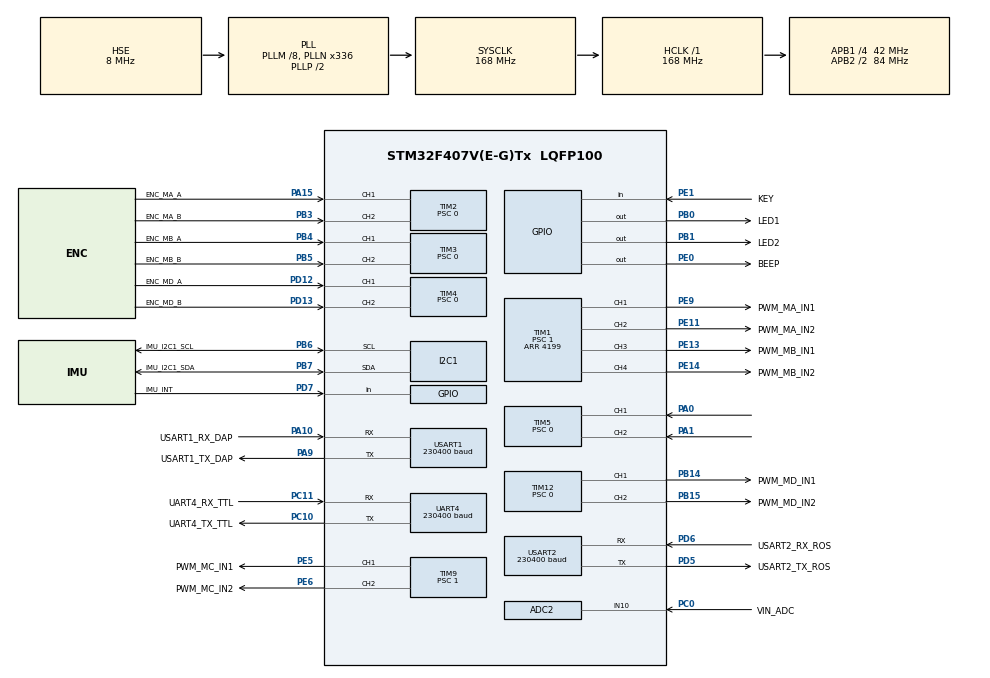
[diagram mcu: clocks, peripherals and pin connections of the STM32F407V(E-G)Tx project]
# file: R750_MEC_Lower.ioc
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ADC2.Channel=ADC_CHANNEL_10
ADC2.Channel-0\#ChannelRegularConversion=ADC_CHANNEL_10
ADC2.NbrOfConversion=1
ADC2.NbrOfConversionFlag=1
ADC2.Rank-0\#ChannelRegularConversion=1
ADC2.SamplingTime-0\#ChannelRegularConversion=ADC_SAMPLETIME_480CYCLES
ADC2.master=1
FREERTOS.Tasks01=defaultTask,24,512,StartDefaultTask,Default,NULL,Dynamic,NULL,NULL
FREERTOS.configCHECK_FOR_STACK_OVERFLOW=2
FREERTOS.configTOTAL_HEAP_SIZE=32768
FREERTOS.configUSE_APPLICATION_TASK_TAG=0
FREERTOS.configUSE_COUNTING_SEMAPHORES=1
FREERTOS.configUSE_IDLE_HOOK=0
FREERTOS.configUSE_MALLOC_FAILED_HOOK=1
FREERTOS.configUSE_RECURSIVE_MUTEXES=1
I2C1.I2C_Mode=I2C_Fast
I2C1.OwnAddress=0
Mcu.Family=STM32F4
Mcu.Name=STM32F407V(E-G)Tx
Mcu.Package=LQFP100
NVIC.PriorityGroup=NVIC_PRIORITYGROUP_4
NVIC.TIM6_DAC_IRQn=true\:0\:0\:false\:false\:true\:false\:false\:true\:true
NVIC.TIM7_IRQn=true\:5\:0\:false\:false\:true\:true\:true\:true\:true
NVIC.TimeBase=TIM6_DAC_IRQn
NVIC.TimeBaseIP=TIM6
NVIC.UART4_IRQn=true\:5\:0\:false\:false\:true\:true\:true\:true\:true
NVIC.USART1_IRQn=true\:5\:0\:false\:false\:true\:true\:true\:true\:true
NVIC.USART2_IRQn=true\:5\:0\:false\:false\:true\:true\:true\:true\:true
PA0-WKUP.GPIO_PuPd=GPIO_PULLUP
PA0-WKUP.Signal=S_TIM5_CH1
PA1.GPIO_PuPd=GPIO_PULLUP
PA1.Signal=S_TIM5_CH2
PA10.GPIO_Label=USART1_RX_DAP
PA10.GPIO_Mode=GPIO_MODE_AF_PP
PA10.GPIO_PuPd=GPIO_NOPULL
PA10.GPIO_Speed=GPIO_SPEED_FREQ_VERY_HIGH
PA10.Mode=Asynchronous
PA10.Signal=USART1_RX
PA13.Mode=Serial_Wire
PA13.Signal=SYS_JTMS-SWDIO
PA14.Mode=Serial_Wire
PA14.Signal=SYS_JTCK-SWCLK
PA15.GPIO_Label=ENC_MA_A
PA15.GPIO_PuPd=GPIO_PULLUP
PA15.Signal=S_TIM2_CH1_ETR
PA9.GPIO_Label=USART1_TX_DAP
PA9.GPIO_Mode=GPIO_MODE_AF_PP
PA9.GPIO_PuPd=GPIO_NOPULL
PA9.GPIO_Speed=GPIO_SPEED_FREQ_VERY_HIGH
PA9.Mode=Asynchronous
PA9.Signal=USART1_TX
PB0.GPIO_Label=LED1
PB0.GPIO_PuPd=GPIO_NOPULL
PB0.GPIO_Speed=GPIO_SPEED_FREQ_LOW
PB0.PinState=GPIO_PIN_SET
PB0.Signal=GPIO_Output
PB1.GPIO_Label=LED2
PB1.GPIO_PuPd=GPIO_NOPULL
PB1.GPIO_Speed=GPIO_SPEED_FREQ_LOW
PB1.PinState=GPIO_PIN_SET
PB1.Signal=GPIO_Output
PB14.GPIO_Label=PWM_MD_IN1
PB14.Signal=S_TIM12_CH1
PB15.GPIO_Label=PWM_MD_IN2
PB15.Signal=S_TIM12_CH2
PB3.GPIO_Label=ENC_MA_B
PB3.GPIO_PuPd=GPIO_PULLUP
PB3.Signal=S_TIM2_CH2
PB4.GPIO_Label=ENC_MB_A
PB4.GPIO_PuPd=GPIO_PULLUP
PB4.Signal=S_TIM3_CH1
PB5.GPIO_Label=ENC_MB_B
PB5.GPIO_PuPd=GPIO_PULLUP
PB5.Signal=S_TIM3_CH2
PB6.GPIO_Label=IMU_I2C1_SCL
PB6.GPIO_Mode=GPIO_MODE_AF_OD
PB6.GPIO_PuPd=GPIO_NOPULL
PB6.GPIO_Speed=GPIO_SPEED_FREQ_VERY_HIGH
PB6.Mode=I2C
PB6.Signal=I2C1_SCL
PB7.GPIO_Label=IMU_I2C1_SDA
PB7.GPIO_Mode=GPIO_MODE_AF_OD
PB7.GPIO_PuPd=GPIO_NOPULL
PB7.GPIO_Speed=GPIO_SPEED_FREQ_VERY_HIGH
PB7.Mode=I2C
PB7.Signal=I2C1_SDA
PC0.GPIO_Label=VIN_ADC
PC0.Signal=ADCx_IN10
PC10.GPIO_Label=UART4_TX_TTL
PC10.GPIO_Mode=GPIO_MODE_AF_PP
PC10.GPIO_PuPd=GPIO_NOPULL
PC10.GPIO_Speed=GPIO_SPEED_FREQ_VERY_HIGH
PC10.Mode=Asynchronous
PC10.Signal=UART4_TX
PC11.GPIO_Label=UART4_RX_TTL
PC11.GPIO_Mode=GPIO_MODE_AF_PP
PC11.GPIO_PuPd=GPIO_NOPULL
PC11.GPIO_Speed=GPIO_SPEED_FREQ_VERY_HIGH
PC11.Mode=Asynchronous
PC11.Signal=UART4_RX
PD12.GPIO_Label=ENC_MD_A
PD12.GPIO_PuPd=GPIO_PULLUP
PD12.Signal=S_TIM4_CH1
PD13.GPIO_Label=ENC_MD_B
PD13.GPIO_PuPd=GPIO_PULLUP
PD13.Signal=S_TIM4_CH2
PD5.GPIO_Label=USART2_TX_ROS
PD5.GPIO_Mode=GPIO_MODE_AF_PP
PD5.GPIO_PuPd=GPIO_NOPULL
PD5.GPIO_Speed=GPIO_SPEED_FREQ_VERY_HIGH
PD5.Mode=Asynchronous
PD5.Signal=USART2_TX
PD6.GPIO_Label=USART2_RX_ROS
PD6.GPIO_Mode=GPIO_MODE_AF_PP
PD6.GPIO_PuPd=GPIO_NOPULL
PD6.GPIO_Speed=GPIO_SPEED_FREQ_VERY_HIGH
PD6.Mode=Asynchronous
PD6.Signal=USART2_RX
PD7.GPIO_Label=IMU_INT
PD7.GPIO_PuPd=GPIO_PULLDOWN
PD7.Signal=GPIO_Input
PE0.GPIO_Label=BEEP
PE0.GPIO_PuPd=GPIO_NOPULL
PE0.GPIO_Speed=GPIO_SPEED_FREQ_LOW
PE0.PinState=GPIO_PIN_RESET
PE0.Signal=GPIO_Output
PE1.GPIO_Label=KEY
PE1.GPIO_PuPd=GPIO_NOPULL
PE1.Signal=GPIO_Input
PE11.GPIO_Label=PWM_MA_IN2
PE11.Signal=S_TIM1_CH2
PE13.GPIO_Label=PWM_MB_IN1
PE13.Signal=S_TIM1_CH3
PE14.GPIO_Label=PWM_MB_IN2
PE14.Signal=S_TIM1_CH4
PE5.GPIO_Label=PWM_MC_IN1
PE5.Signal=S_TIM9_CH1
PE6.GPIO_Label=PWM_MC_IN2
PE6.Signal=S_TIM9_CH2
PE9.GPIO_Label=PWM_MA_IN1
PE9.Signal=S_TIM1_CH1
PH0-OSC_IN.Mode=HSE-External-Oscillator
PH0-OSC_IN.Signal=RCC_OSC_IN
PH1-OSC_OUT.Mode=HSE-External-Oscillator
PH1-OSC_OUT.Signal=RCC_OSC_OUT
ProjectManager.HeapSize=0x200
ProjectManager.StackSize=0x400
ProjectManager.TargetToolchain=CMake
RCC.48MHZClocksFreq_Value=48000000
RCC.AHBFreq_Value=168000000
RCC.APB1CLKDivider=RCC_HCLK_DIV4
RCC.APB1Freq_Value=42000000
RCC.APB1TimFreq_Value=84000000
RCC.APB2CLKDivider=RCC_HCLK_DIV2
RCC.APB2Freq_Value=84000000
RCC.APB2TimFreq_Value=168000000
RCC.CortexFreq_Value=168000000
RCC.HCLKFreq_Value=168000000
RCC.HSE_VALUE=8000000
RCC.HSI_VALUE=16000000
RCC.LSE_VALUE=32768
RCC.PLLM=8
RCC.PLLN=336
RCC.PLLP=RCC_PLLP_DIV2
RCC.PLLQ=7
RCC.PLLSourceVirtual=RCC_PLLSOURCE_HSE
RCC.SYSCLKFreq_VALUE=168000000
RCC.SYSCLKSource=RCC_SYSCLKSOURCE_PLLCLK
RCC.USBFreq_Value=48000000
RCC.VCOOutputFreq_Value=336000000
SH.ADCx_IN10.0=ADC2_IN10,IN10
SH.S_TIM12_CH1.0=TIM12_CH1,PWM Generation1 CH1
SH.S_TIM12_CH2.0=TIM12_CH2,PWM Generation2 CH2
SH.S_TIM1_CH1.0=TIM1_CH1,PWM Generation1 CH1
SH.S_TIM1_CH2.0=TIM1_CH2,PWM Generation2 CH2
SH.S_TIM1_CH3.0=TIM1_CH3,PWM Generation3 CH3
SH.S_TIM1_CH4.0=TIM1_CH4,PWM Generation4 CH4
SH.S_TIM2_CH1_ETR.0=TIM2_CH1,Encoder_Interface
SH.S_TIM2_CH2.0=TIM2_CH2,Encoder_Interface
SH.S_TIM3_CH1.0=TIM3_CH1,Encoder_Interface
SH.S_TIM3_CH2.0=TIM3_CH2,Encoder_Interface
SH.S_TIM4_CH1.0=TIM4_CH1,Encoder_Interface
SH.S_TIM4_CH2.0=TIM4_CH2,Encoder_Interface
SH.S_TIM5_CH1.0=TIM5_CH1,Encoder_Interface
SH.S_TIM5_CH2.0=TIM5_CH2,Encoder_Interface
SH.S_TIM9_CH1.0=TIM9_CH1,PWM Generation1 CH1
SH.S_TIM9_CH2.0=TIM9_CH2,PWM Generation2 CH2
SYS.Debug=SYS_DEBUG_SERIAL_WIRE
TIM1.Channel-PWM\ Generation1\ CH1=TIM_CHANNEL_1
TIM1.Channel-PWM\ Generation2\ CH2=TIM_CHANNEL_2
TIM1.Channel-PWM\ Generation3\ CH3=TIM_CHANNEL_3
TIM1.Channel-PWM\ Generation4\ CH4=TIM_CHANNEL_4
TIM1.Period=4199
TIM1.Prescaler=1
TIM12.Channel-PWM\ Generation1\ CH1=TIM_CHANNEL_1
TIM12.Channel-PWM\ Generation2\ CH2=TIM_CHANNEL_2
TIM12.Period=4199
TIM12.Prescaler=0
TIM2.EncoderMode=TIM_ENCODERMODE_TI12
TIM2.IC1Filter=6
TIM2.IC2Filter=6
TIM2.Period=65535
TIM2.Prescaler=0
TIM3.EncoderMode=TIM_ENCODERMODE_TI12
TIM3.IC1Filter=6
TIM3.IC2Filter=6
TIM3.Period=65535
TIM3.Prescaler=0
TIM4.EncoderMode=TIM_ENCODERMODE_TI12
TIM4.IC1Filter=6
TIM4.IC2Filter=6
TIM4.Period=65535
TIM4.Prescaler=0
TIM5.EncoderMode=TIM_ENCODERMODE_TI12
TIM5.IC1Filter=6
TIM5.IC2Filter=6
TIM5.Period=65535
TIM5.Prescaler=0
TIM7.Period=999
TIM7.Prescaler=83
TIM9.Channel-PWM\ Generation1\ CH1=TIM_CHANNEL_1
TIM9.Channel-PWM\ Generation2\ CH2=TIM_CHANNEL_2
TIM9.Period=4199
TIM9.Prescaler=1
UART4.BaudRate=230400
UART4.VirtualMode=Asynchronous
USART1.BaudRate=230400
USART1.VirtualMode=VM_ASYNC
USART2.BaudRate=230400
USART2.VirtualMode=VM_ASYNC
VP_FREERTOS_VS_CMSIS_V2.Mode=CMSIS_V2
VP_SYS_VS_tim6.Mode=TIM6
VP_TIM12_VS_ClockSourceINT.Mode=Internal
VP_TIM1_VS_ClockSourceINT.Mode=Internal
VP_TIM7_VS_ClockSourceINT.Mode=Enable_Timer
VP_TIM9_VS_ClockSourceINT.Mode=Internal
board=custom

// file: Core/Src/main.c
/* USER CODE BEGIN Header */
/**
  ******************************************************************************
  * @file           : main.c
  * @brief          : Main program body
  ******************************************************************************
  * @attention
  *
  * Copyright (c) 2026 STMicroelectronics.
  * All rights reserved.
  *
  * This software is licensed under terms that can be found in the LICENSE file
  * in the root directory of this software component.
  * If no LICENSE file comes with this software, it is provided AS-IS.
  *
  ******************************************************************************
  */
/* USER CODE END Header */
#include "main.h"
#include "cmsis_os.h"
#include "adc.h"
#include "i2c.h"
#include "tim.h"
#include "usart.h"
#include "gpio.h"

/* USER CODE BEGIN Includes */
#include "app_control_timebase.h"
#include "bsp_motor.h"

/* USER CODE END Includes */

void SystemClock_Config(void);
void MX_FREERTOS_Init(void);

int main(void)
{

  /* MCU Configuration--------------------------------------------------------*/

  /* Reset of all peripherals, Initializes the Flash interface and the Systick. */
  HAL_Init();

  /* Configure the system clock */
  SystemClock_Config();

  /* Initialize all configured peripherals */
  MX_GPIO_Init();
  MX_ADC2_Init();
  MX_I2C1_Init();
  MX_TIM1_Init();
  MX_TIM2_Init();
  MX_TIM3_Init();
  MX_TIM4_Init();
  MX_TIM5_Init();
  MX_TIM9_Init();
  MX_TIM12_Init();
  MX_TIM7_Init();
  MX_UART4_Init();
  MX_USART1_UART_Init();
  MX_USART2_UART_Init();

  /* Init scheduler */
  osKernelInitialize();  /* Call init function for freertos objects (in cmsis_os2.c) */
  MX_FREERTOS_Init();

  /* Start scheduler */
  osKernelStart();

  /* We should never get here as control is now taken by the scheduler */

  /* Infinite loop */
  while (1)
  {

  }
}

void SystemClock_Config(void)
{
  RCC_OscInitTypeDef RCC_OscInitStruct = {0};
  RCC_ClkInitTypeDef RCC_ClkInitStruct = {0};

  /** Configure the main internal regulator output voltage
  */
  __HAL_RCC_PWR_CLK_ENABLE();
  __HAL_PWR_VOLTAGESCALING_CONFIG(PWR_REGULATOR_VOLTAGE_SCALE1);

  /** Initializes the RCC Oscillators according to the specified parameters
  * in the RCC_OscInitTypeDef structure.
  */
  RCC_OscInitStruct.OscillatorType = RCC_OSCILLATORTYPE_HSE;
  RCC_OscInitStruct.HSEState = RCC_HSE_ON;
  RCC_OscInitStruct.PLL.PLLState = RCC_PLL_ON;
  RCC_OscInitStruct.PLL.PLLSource = RCC_PLLSOURCE_HSE;
  RCC_OscInitStruct.PLL.PLLM = 8;
  RCC_OscInitStruct.PLL.PLLN = 336;
  RCC_OscInitStruct.PLL.PLLP = RCC_PLLP_DIV2;
  RCC_OscInitStruct.PLL.PLLQ = 7;
  if (HAL_RCC_OscConfig(&RCC_OscInitStruct) != HAL_OK)
  {
    Error_Handler();
  }

  /** Initializes the CPU, AHB and APB buses clocks
  */
  RCC_ClkInitStruct.ClockType = RCC_CLOCKTYPE_HCLK|RCC_CLOCKTYPE_SYSCLK
                              |RCC_CLOCKTYPE_PCLK1|RCC_CLOCKTYPE_PCLK2;
  RCC_ClkInitStruct.SYSCLKSource = RCC_SYSCLKSOURCE_PLLCLK;
  RCC_ClkInitStruct.AHBCLKDivider = RCC_SYSCLK_DIV1;
  RCC_ClkInitStruct.APB1CLKDivider = RCC_HCLK_DIV4;
  RCC_ClkInitStruct.APB2CLKDivider = RCC_HCLK_DIV2;

  if (HAL_RCC_ClockConfig(&RCC_ClkInitStruct, FLASH_LATENCY_5) != HAL_OK)
  {
    Error_Handler();
  }
}

void HAL_TIM_PeriodElapsedCallback(TIM_HandleTypeDef *htim)
{
  if (htim->Instance == TIM6)
  {
    HAL_IncTick();
  }
  /* USER CODE BEGIN Callback 1 */

  if (htim->Instance == TIM7)
  {
    AppControlTimebase_OnTimerElapsedFromIsr();
  }

  /* USER CODE END Callback 1 */
}

void Error_Handler(void)
{
  /* USER CODE BEGIN Error_Handler_Debug */
  /* User can add his own implementation to report the HAL error return state */
  BspMotor_EmergencyCoastAll();
  __disable_irq();
  while (1)
  {
  }
  /* USER CODE END Error_Handler_Debug */
}

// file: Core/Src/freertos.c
/* USER CODE BEGIN Header */
/**
  ******************************************************************************
  * File Name          : freertos.c
  * Description        : Code for freertos applications
  ******************************************************************************
  * @attention
  *
  * Copyright (c) 2026 STMicroelectronics.
  * All rights reserved.
  *
  * This software is licensed under terms that can be found in the LICENSE file
  * in the root directory of this software component.
  * If no LICENSE file comes with this software, it is provided AS-IS.
  *
  ******************************************************************************
  */
/* USER CODE END Header */

#include "FreeRTOS.h"
#include "task.h"
#include "main.h"
#include "cmsis_os.h"

/* USER CODE BEGIN Includes */
#include "app.h"
#include "bsp_motor.h"

/* USER CODE END Includes */

/* Definitions for defaultTask */
osThreadId_t defaultTaskHandle;
const osThreadAttr_t defaultTask_attributes = {
  .name = "defaultTask",
  .stack_size = 512 * 4,
  .priority = (osPriority_t) osPriorityNormal,
};

void StartDefaultTask(void *argument);

void MX_FREERTOS_Init(void); /* (MISRA C 2004 rule 8.1) */

/* Hook prototypes */
void vApplicationStackOverflowHook(xTaskHandle xTask, signed char *pcTaskName);
void vApplicationMallocFailedHook(void);

/* USER CODE BEGIN 4 */
void vApplicationStackOverflowHook(xTaskHandle xTask, signed char *pcTaskName)
{
   /* Run time stack overflow checking is performed if
   configCHECK_FOR_STACK_OVERFLOW is defined to 1 or 2. This hook function is
   called if a stack overflow is detected. */
  (void)xTask;
  (void)pcTaskName;
  BspMotor_EmergencyCoastAll();
  taskDISABLE_INTERRUPTS();
  for (;;) {
  }
}
/* USER CODE END 4 */

/* USER CODE BEGIN 5 */
void vApplicationMallocFailedHook(void)
{
   /* vApplicationMallocFailedHook() will only be called if
   configUSE_MALLOC_FAILED_HOOK is set to 1 in FreeRTOSConfig.h. It is a hook
   function that will get called if a call to pvPortMalloc() fails.
   pvPortMalloc() is called internally by the kernel whenever a task, queue,
   timer or semaphore is created. It is also called by various parts of the
   demo application. If heap_1.c or heap_2.c are used, then the size of the
   heap available to pvPortMalloc() is defined by configTOTAL_HEAP_SIZE in
   FreeRTOSConfig.h, and the xPortGetFreeHeapSize() API function can be used
   to query the size of free heap space that remains (although it does not
   provide information on how the remaining heap might be fragmented). */
  BspMotor_EmergencyCoastAll();
  taskDISABLE_INTERRUPTS();
  for (;;) {
  }
}
/* USER CODE END 5 */

void MX_FREERTOS_Init(void) {

  /* Create the thread(s) */
  /* creation of defaultTask */
  defaultTaskHandle = osThreadNew(StartDefaultTask, NULL, &defaultTask_attributes);

}

void StartDefaultTask(void *argument)
{
  /* USER CODE BEGIN StartDefaultTask */
  App_DefaultTask(argument);

  for (;;) {
    osDelay(1000);
  }
  /* USER CODE END StartDefaultTask */
}
